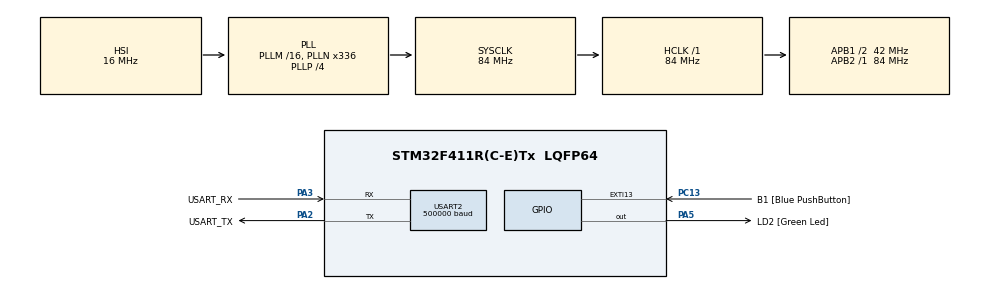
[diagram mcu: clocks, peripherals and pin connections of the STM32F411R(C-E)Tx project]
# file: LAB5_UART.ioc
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Dma.Request0=USART2_RX
Dma.Request1=USART2_TX
Dma.USART2_RX.0.Direction=DMA_PERIPH_TO_MEMORY
Dma.USART2_RX.0.FIFOMode=DMA_FIFOMODE_DISABLE
Dma.USART2_RX.0.Instance=DMA1_Stream5
Dma.USART2_RX.0.MemDataAlignment=DMA_MDATAALIGN_BYTE
Dma.USART2_RX.0.MemInc=DMA_MINC_ENABLE
Dma.USART2_RX.0.Mode=DMA_CIRCULAR
Dma.USART2_RX.0.PeriphDataAlignment=DMA_PDATAALIGN_BYTE
Dma.USART2_RX.0.PeriphInc=DMA_PINC_DISABLE
Dma.USART2_RX.0.Priority=DMA_PRIORITY_LOW
Dma.USART2_TX.1.Direction=DMA_MEMORY_TO_PERIPH
Dma.USART2_TX.1.FIFOMode=DMA_FIFOMODE_DISABLE
Dma.USART2_TX.1.Instance=DMA1_Stream6
Dma.USART2_TX.1.MemDataAlignment=DMA_MDATAALIGN_BYTE
Dma.USART2_TX.1.MemInc=DMA_MINC_ENABLE
Dma.USART2_TX.1.Mode=DMA_NORMAL
Dma.USART2_TX.1.PeriphDataAlignment=DMA_PDATAALIGN_BYTE
Dma.USART2_TX.1.PeriphInc=DMA_PINC_DISABLE
Dma.USART2_TX.1.Priority=DMA_PRIORITY_LOW
Mcu.Family=STM32F4
Mcu.Name=STM32F411R(C-E)Tx
Mcu.Package=LQFP64
NVIC.DMA1_Stream5_IRQn=true\:0\:0\:false\:false\:true\:false\:true\:true
NVIC.DMA1_Stream6_IRQn=true\:0\:0\:false\:false\:true\:false\:true\:true
NVIC.PriorityGroup=NVIC_PRIORITYGROUP_0
NVIC.USART2_IRQn=true\:0\:0\:false\:false\:true\:true\:true\:true
PA13.GPIO_Label=TMS
PA13.Mode=Serial_Wire
PA13.Signal=SYS_JTMS-SWDIO
PA14.GPIO_Label=TCK
PA14.Mode=Serial_Wire
PA14.Signal=SYS_JTCK-SWCLK
PA2.GPIO_Label=USART_TX
PA2.Mode=Asynchronous
PA2.Signal=USART2_TX
PA3.GPIO_Label=USART_RX
PA3.Mode=Asynchronous
PA3.Signal=USART2_RX
PA5.GPIO_Label=LD2 [Green Led]
PA5.Signal=GPIO_Output
PB3.GPIO_Label=SWO
PB3.Signal=SYS_JTDO-SWO
PC13-ANTI_TAMP.GPIO_Label=B1 [Blue PushButton]
PC13-ANTI_TAMP.GPIO_ModeDefaultEXTI=GPIO_MODE_IT_FALLING
PC13-ANTI_TAMP.Signal=GPXTI13
PC14-OSC32_IN.Mode=LSE-External-Oscillator
PC14-OSC32_IN.Signal=RCC_OSC32_IN
PC15-OSC32_OUT.Mode=LSE-External-Oscillator
PC15-OSC32_OUT.Signal=RCC_OSC32_OUT
PH0\ -\ OSC_IN.Mode=HSE-External-Clock-Source
PH0\ -\ OSC_IN.Signal=RCC_OSC_IN
PH1\ -\ OSC_OUT.Mode=HSE-External-Clock-Source
PH1\ -\ OSC_OUT.Signal=RCC_OSC_OUT
ProjectManager.HeapSize=0x200
ProjectManager.StackSize=0x400
ProjectManager.TargetToolchain=STM32CubeIDE
RCC.48MHZClocksFreq_Value=84000000
RCC.AHBFreq_Value=84000000
RCC.APB1CLKDivider=RCC_HCLK_DIV2
RCC.APB1Freq_Value=42000000
RCC.APB1TimFreq_Value=84000000
RCC.APB2Freq_Value=84000000
RCC.APB2TimFreq_Value=84000000
RCC.CortexFreq_Value=84000000
RCC.FLatency-AdvancedSettings=FLASH_LATENCY_2
RCC.HCLKFreq_Value=84000000
RCC.HSE_VALUE=8000000
RCC.HSI_VALUE=16000000
RCC.PLLN=336
RCC.PLLP=RCC_PLLP_DIV4
RCC.SYSCLKFreq_VALUE=84000000
RCC.SYSCLKSource=RCC_SYSCLKSOURCE_PLLCLK
RCC.VCOOutputFreq_Value=336000000
USART2.BaudRate=500000
USART2.VirtualMode=VM_ASYNC
board=NUCLEO-F411RE

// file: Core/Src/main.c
/* USER CODE BEGIN Header */
/**
  ******************************************************************************
  * @file           : main.c
  * @brief          : Main program body
  ******************************************************************************
  * @attention
  *
  * Copyright (c) 2023 STMicroelectronics.
  * All rights reserved.
  *
  * This software is licensed under terms that can be found in the LICENSE file
  * in the root directory of this software component.
  * If no LICENSE file comes with this software, it is provided AS-IS.
  *Paweekorn
  ******************************************************************************
  */
/* USER CODE END Header */
#include "main.h"

UART_HandleTypeDef huart2;
DMA_HandleTypeDef hdma_usart2_rx;
DMA_HandleTypeDef hdma_usart2_tx;

/* USER CODE BEGIN PV */
uint8_t RxBuffer[20];
uint8_t TxBuffer[40];
uint8_t data[5];
uint8_t Mode = 0;
float freq = 10.0;
int i_freq = 10;
uint8_t flag = 1;
uint8_t status;
uint8_t length;

char int_str[20];
/* USER CODE END PV */

void SystemClock_Config(void);
static void MX_GPIO_Init(void);
static void MX_DMA_Init(void);
static void MX_USART2_UART_Init(void);
/* USER CODE BEGIN PFP */

void UARTDMAConfig();
/* USER CODE END PFP */

int main(void)
{

  /* MCU Configuration--------------------------------------------------------*/

  /* Reset of all peripherals, Initializes the Flash interface and the Systick. */
  HAL_Init();

  /* Configure the system clock */
  SystemClock_Config();

  /* Initialize all configured peripherals */
  MX_GPIO_Init();
  MX_DMA_Init();
  MX_USART2_UART_Init();
  /* USER CODE BEGIN 2 */
  uint8_t text[] = "SELECT MENU [0(LED),1(BUTT)]\r\n"; //initial
  HAL_UART_Transmit(&huart2, text,32, 1000); //polling

  UARTDMAConfig();
  /* USER CODE END 2 */

  /* Infinite loop */
  /* USER CODE BEGIN WHILE */
  while (1)
  {
	  DummyTask();
    /* USER CODE END WHILE */

  }
}

void SystemClock_Config(void)
{
  RCC_OscInitTypeDef RCC_OscInitStruct = {0};
  RCC_ClkInitTypeDef RCC_ClkInitStruct = {0};

  /** Configure the main internal regulator output voltage
  */
  __HAL_RCC_PWR_CLK_ENABLE();
  __HAL_PWR_VOLTAGESCALING_CONFIG(PWR_REGULATOR_VOLTAGE_SCALE1);

  /** Initializes the RCC Oscillators according to the specified parameters
  * in the RCC_OscInitTypeDef structure.
  */
  RCC_OscInitStruct.OscillatorType = RCC_OSCILLATORTYPE_HSI;
  RCC_OscInitStruct.HSIState = RCC_HSI_ON;
  RCC_OscInitStruct.HSICalibrationValue = RCC_HSICALIBRATION_DEFAULT;
  RCC_OscInitStruct.PLL.PLLState = RCC_PLL_ON;
  RCC_OscInitStruct.PLL.PLLSource = RCC_PLLSOURCE_HSI;
  RCC_OscInitStruct.PLL.PLLM = 16;
  RCC_OscInitStruct.PLL.PLLN = 336;
  RCC_OscInitStruct.PLL.PLLP = RCC_PLLP_DIV4;
  RCC_OscInitStruct.PLL.PLLQ = 4;
  if (HAL_RCC_OscConfig(&RCC_OscInitStruct) != HAL_OK)
  {
    Error_Handler();
  }

  /** Initializes the CPU, AHB and APB buses clocks
  */
  RCC_ClkInitStruct.ClockType = RCC_CLOCKTYPE_HCLK|RCC_CLOCKTYPE_SYSCLK
                              |RCC_CLOCKTYPE_PCLK1|RCC_CLOCKTYPE_PCLK2;
  RCC_ClkInitStruct.SYSCLKSource = RCC_SYSCLKSOURCE_PLLCLK;
  RCC_ClkInitStruct.AHBCLKDivider = RCC_SYSCLK_DIV1;
  RCC_ClkInitStruct.APB1CLKDivider = RCC_HCLK_DIV2;
  RCC_ClkInitStruct.APB2CLKDivider = RCC_HCLK_DIV1;

  if (HAL_RCC_ClockConfig(&RCC_ClkInitStruct, FLASH_LATENCY_2) != HAL_OK)
  {
    Error_Handler();
  }
}

static void MX_USART2_UART_Init(void)
{

  huart2.Instance = USART2;
  huart2.Init.BaudRate = 500000;
  huart2.Init.WordLength = UART_WORDLENGTH_8B;
  huart2.Init.StopBits = UART_STOPBITS_1;
  huart2.Init.Parity = UART_PARITY_NONE;
  huart2.Init.Mode = UART_MODE_TX_RX;
  huart2.Init.HwFlowCtl = UART_HWCONTROL_NONE;
  huart2.Init.OverSampling = UART_OVERSAMPLING_16;
  if (HAL_UART_Init(&huart2) != HAL_OK)
  {
    Error_Handler();
  }

}

static void MX_DMA_Init(void)
{

  /* DMA controller clock enable */
  __HAL_RCC_DMA1_CLK_ENABLE();

  /* DMA interrupt init */
  /* DMA1_Stream5_IRQn interrupt configuration */
  HAL_NVIC_SetPriority(DMA1_Stream5_IRQn, 0, 0);
  HAL_NVIC_EnableIRQ(DMA1_Stream5_IRQn);
  /* DMA1_Stream6_IRQn interrupt configuration */
  HAL_NVIC_SetPriority(DMA1_Stream6_IRQn, 0, 0);
  HAL_NVIC_EnableIRQ(DMA1_Stream6_IRQn);

}

static void MX_GPIO_Init(void)
{
  GPIO_InitTypeDef GPIO_InitStruct = {0};

  /* GPIO Ports Clock Enable */
  __HAL_RCC_GPIOC_CLK_ENABLE();
  __HAL_RCC_GPIOH_CLK_ENABLE();
  __HAL_RCC_GPIOA_CLK_ENABLE();
  __HAL_RCC_GPIOB_CLK_ENABLE();

  /*Configure GPIO pin Output Level */
  HAL_GPIO_WritePin(LD2_GPIO_Port, LD2_Pin, GPIO_PIN_RESET);

  /*Configure GPIO pin : B1_Pin */
  GPIO_InitStruct.Pin = B1_Pin;
  GPIO_InitStruct.Mode = GPIO_MODE_IT_FALLING;
  GPIO_InitStruct.Pull = GPIO_NOPULL;
  HAL_GPIO_Init(B1_GPIO_Port, &GPIO_InitStruct);

  /*Configure GPIO pin : LD2_Pin */
  GPIO_InitStruct.Pin = LD2_Pin;
  GPIO_InitStruct.Mode = GPIO_MODE_OUTPUT_PP;
  GPIO_InitStruct.Pull = GPIO_NOPULL;
  GPIO_InitStruct.Speed = GPIO_SPEED_FREQ_LOW;
  HAL_GPIO_Init(LD2_GPIO_Port, &GPIO_InitStruct);

}

/* USER CODE BEGIN 4 */
void HAL_UART_RxCpltCallback(UART_HandleTypeDef *huart){
	if(huart == &huart2){
		//(for string only) Add string stop symbol \0 to end string
		RxBuffer[1] = '\0';
		switch(Mode){
		case 0:
			if(RxBuffer[0] == '0')
			{
				sprintf((char*)TxBuffer,"LED[a(+),s(-),d(O/C),x(back)] : %s\r\n",RxBuffer);
				HAL_UART_Transmit_DMA(&huart2, TxBuffer, strlen((char*)TxBuffer));

				Mode = 1;
			}
			else if(RxBuffer[0] == '1'){

				sprintf((char*)TxBuffer,"BUTT[x (Back)] : %s\r\n",RxBuffer);
				HAL_UART_Transmit_DMA(&huart2, TxBuffer, strlen((char*)TxBuffer));

				Mode = 2;
			}

			else{
				sprintf((char*)TxBuffer,"SELECT MENU [0(LED),1(BUTT)] : %s\r\n",RxBuffer);
				HAL_UART_Transmit_DMA(&huart2, TxBuffer, strlen((char*)TxBuffer));
			}
			break;

		case 1: //LED (0)
			if(RxBuffer[0] == 'a')
			{
				freq += 1;
				i_freq = freq;
				sprintf((char*)TxBuffer,"Frequency : %d\r\n",i_freq);
				HAL_UART_Transmit_DMA(&huart2, TxBuffer, strlen((char*)TxBuffer));
			}
			else if(RxBuffer[0] == 's'){
				if(freq > 1){
					freq -= 1;
				}
				i_freq = freq;
				sprintf((char*)TxBuffer,"Frequency : %d\r\n",i_freq);
				HAL_UART_Transmit_DMA(&huart2, TxBuffer, strlen((char*)TxBuffer));
			}
			else if(RxBuffer[0] == 'd'){
				if(flag == 0){
					flag = 1;
					sprintf((char*)TxBuffer,"LED ON : %u\r\n",flag);
				}
				else{
					flag = 0;
					sprintf((char*)TxBuffer,"LED OFF : %u\r\n",flag);
				}
				HAL_UART_Transmit_DMA(&huart2, TxBuffer, strlen((char*)TxBuffer));
			}
			else if(RxBuffer[0] == 'x'){
				sprintf((char*)TxBuffer,"SELECT MENU [0(LED),1(BUTT)] : \r\n",RxBuffer);
				HAL_UART_Transmit_DMA(&huart2, TxBuffer, strlen((char*)TxBuffer));
				Mode = 0;
			}
			else{
				sprintf((char*)TxBuffer,"LED[a(+),s(-),d(O/C),x(back)] : %s\r\n",RxBuffer);
				HAL_UART_Transmit_DMA(&huart2, TxBuffer, strlen((char*)TxBuffer));
			}
			break;

		case 2: //BUTT (1)
			if(RxBuffer[0] == 'x'){
				sprintf((char*)TxBuffer,"SELECT MENU [0(LED),1(BUTT)] : \r\n",RxBuffer);
				HAL_UART_Transmit_DMA(&huart2, TxBuffer, strlen((char*)TxBuffer));
				Mode = 0;
			}
			else{
				sprintf((char*)TxBuffer,"BUTTON [x(back)] : %s\r\n",RxBuffer);
				HAL_UART_Transmit_DMA(&huart2, TxBuffer, strlen((char*)TxBuffer));
			}
			break;
		}
	}
}

void UARTDMAConfig(){
	//start UART in DMA Mode
	HAL_UART_Receive_DMA(&huart2, RxBuffer, 1);
}

void DummyTask()
{
	static uint32_t timestamp = 0;
	if(HAL_GetTick() >= timestamp){
		timestamp = HAL_GetTick() + (1/freq)*1000;
		if(flag != 0){
			HAL_GPIO_TogglePin(LD2_GPIO_Port,LD2_Pin);
		}
		else if(flag == 0){
			HAL_GPIO_WritePin(LD2_GPIO_Port,LD2_Pin,0);
		}

		if (Mode == 2){
			status = HAL_GPIO_ReadPin(GPIOC, GPIO_PIN_13);
			if(status == 1){
				sprintf(int_str, "ON\r\n", status);
				HAL_UART_Transmit(&huart2,int_str,5, 10);
			}
			else if(status == 0){
				sprintf(int_str, "OFF\r\n", status);
				HAL_UART_Transmit(&huart2,int_str,6, 10);
			}
		}
	}
}
/* USER CODE END 4 */

void Error_Handler(void)
{
  __disable_irq();
  while (1)
  {
  }
}
